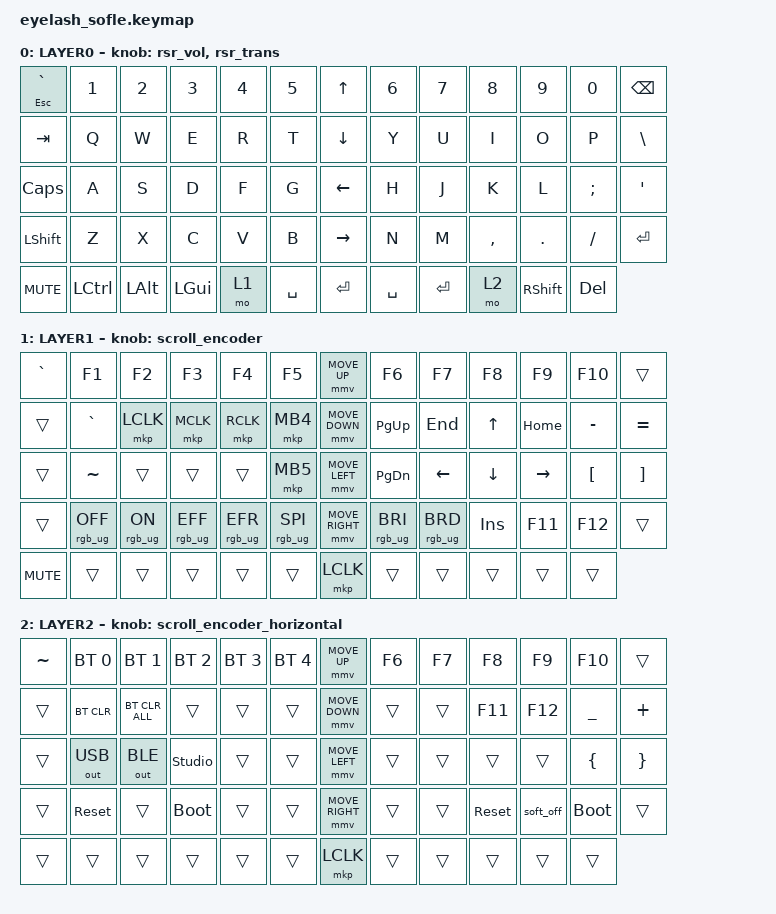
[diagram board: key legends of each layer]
#define ZMK_POINTING_DEFAULT_MOVE_VAL 1200  // 600
// Encoder scroll speed; distance per detent ~= SCRL_VAL * tap-ms / 1000
#define ZMK_POINTING_DEFAULT_SCRL_VAL 85

#include <input/processors.dtsi>
#include <zephyr/dt-bindings/input/input-event-codes.h>
#include <behaviors.dtsi>
#include <behaviors/runtime-sensor-rotate.dtsi>
#include <dt-bindings/zmk/bt.h>
#include <dt-bindings/zmk/keys.h>
#include <dt-bindings/zmk/outputs.h>
#include <dt-bindings/zmk/pointing.h>
#include <dt-bindings/zmk/rgb.h>

&mmv_input_listener { input-processors = <&zip_xy_scaler 2 1>; };

// &msc is only used by the encoder: constant speed so every detent scrolls the same amount
&msc {
    acceleration-exponent = <0>;
};

&mmv {
    time-to-max-speed-ms = <500>;
    acceleration-exponent = <1>;
    trigger-period-ms = <16>;
};

&soft_off { hold-time-ms = <2000>; };

/ {
    scroll_encoder: scroll_encoder {
        compatible = "zmk,behavior-sensor-rotate";
        #sensor-binding-cells = <0>;
        bindings = <&msc SCRL_DOWN>, <&msc SCRL_UP>;
        tap-ms = <30>;
    };

    scroll_encoder_horizontal: scroll_encoder_horizontal {
        compatible = "zmk,behavior-sensor-rotate";
        #sensor-binding-cells = <0>;
        bindings = <&msc SCRL_RIGHT>, <&msc SCRL_LEFT>;
        tap-ms = <30>;
    };

    behaviors {
        rsr_vol: rsr_vol {
            compatible = "zmk,behavior-runtime-sensor-rotate";
            #sensor-binding-cells = <0>;
            tap-ms = <5>;
            cw-binding = <&kp C_VOL_UP>;
            ccw-binding = <&kp C_VOL_DN>;
        };

        // Tap: ` (Shift: ~, Cmd: Cmd+` to cycle windows). Hold: Esc.
        grave_esc: grave_esc {
            compatible = "zmk,behavior-hold-tap";
            #binding-cells = <2>;
            bindings = <&kp>, <&kp>;
            flavor = "tap-preferred";
            tapping-term-ms = <200>;
            quick-tap-ms = <150>;
        };

        rsr_trans: rsr_trans {
            compatible = "zmk,behavior-runtime-sensor-rotate";
            #sensor-binding-cells = <0>;
            tap-ms = <0>;
        };
    };

    combos {
        compatible = "zmk,combos";

        softoff {
            bindings = <&soft_off>;
            key-positions = <14 28 40>;
        };

        esc {
            bindings = <&kp ESC>;
            key-positions = <0 1>;
        };
    };

    macros {
        SHIFT_MCLK: SHIFT_MCLK {
            compatible = "zmk,behavior-macro";
            #binding-cells = <0>;
            bindings =
                <&macro_press>,
                <&kp LEFT_SHIFT>,
                <&macro_press>,
                <&mkp MB3>,
                <&macro_pause_for_release>,
                <&macro_release>,
                <&kp LEFT_SHIFT &mkp MB3>;

            label = "SHIFT_MCLK";
        };
    };

    keymap {
        compatible = "zmk,keymap";

        layer_0 {
            bindings = <
&grave_esc ESC GRAVE  &kp N1     &kp N2        &kp N3        &kp N4  &kp N5       &kp UP_ARROW     &kp N6     &kp N7     &kp N8     &kp N9           &kp N0      &kp BACKSPACE
&kp TAB     &kp Q      &kp W         &kp E         &kp R   &kp T        &kp DOWN_ARROW   &kp Y      &kp U      &kp I      &kp O            &kp P       &kp BSLH
&kp CAPS    &kp A      &kp S         &kp D         &kp F   &kp G        &kp LEFT_ARROW   &kp H      &kp J      &kp K      &kp L            &kp SEMI    &kp APOS
&kp LSHFT   &kp Z      &kp X         &kp C         &kp V   &kp B        &kp RIGHT_ARROW  &kp N      &kp M      &kp COMMA  &kp DOT          &kp FSLH    &kp ENTER
&kp C_MUTE  &kp LCTRL  &kp LEFT_ALT  &kp LEFT_GUI  &mo 1   &kp SPACE    &kp ENTER        &kp SPACE  &kp ENTER  &mo 2      &kp RIGHT_SHIFT  &kp DELETE
            >;

            sensor-bindings = <&rsr_vol &rsr_trans>;
            display-name = "LAYER0";
        };

        layer_1 {
            bindings = <
&kp GRAVE   &kp F1           &kp F2          &kp F3           &kp F4           &kp F5             &mmv MOVE_UP     &kp F6           &kp F7           &kp F8      &kp F9     &kp F10           &trans
&trans      &kp GRAVE        &mkp LCLK       &mkp MCLK        &mkp RCLK        &mkp MB4           &mmv MOVE_DOWN   &kp PG_UP        &kp END          &kp UP      &kp HOME   &kp MINUS         &kp EQUAL
&trans      &kp TILDE        &trans          &trans           &trans           &mkp MB5           &mmv MOVE_LEFT   &kp PG_DN        &kp LEFT         &kp DOWN    &kp RIGHT  &kp LEFT_BRACKET  &kp RIGHT_BRACKET
&trans      &rgb_ug RGB_OFF  &rgb_ug RGB_ON  &rgb_ug RGB_EFF  &rgb_ug RGB_EFR  &rgb_ug RGB_SPI    &mmv MOVE_RIGHT  &rgb_ug RGB_BRI  &rgb_ug RGB_BRD  &kp INSERT  &kp F11    &kp F12           &trans
&kp C_MUTE  &trans           &trans          &trans           &trans           &trans             &mkp LCLK        &trans           &trans           &trans      &trans     &trans
            >;

            sensor-bindings = <&scroll_encoder>;
            display-name = "LAYER1";
        };

        layer_2 {
            bindings = <
&kp TILDE  &bt BT_SEL 0  &bt BT_SEL 1    &bt BT_SEL 2  &bt BT_SEL 3  &bt BT_SEL 4    &mmv MOVE_UP     &kp F6  &kp F7  &kp F8      &kp F9     &kp F10      &trans
&trans     &bt BT_CLR    &bt BT_CLR_ALL  &trans        &trans        &trans          &mmv MOVE_DOWN   &trans  &trans  &kp F11     &kp F12    &kp UNDER    &kp PLUS
&trans     &out OUT_USB  &out OUT_BLE    &studio_unlock  &trans        &trans          &mmv MOVE_LEFT   &trans  &trans  &trans      &trans     &kp LBRC     &kp RBRC
&trans     &sys_reset    &trans          &bootloader   &trans        &trans          &mmv MOVE_RIGHT  &trans  &trans  &sys_reset  &soft_off  &bootloader  &trans
&trans     &trans        &trans          &trans        &trans        &trans          &mkp LCLK        &trans  &trans  &trans      &trans     &trans
            >;

            sensor-bindings = <&scroll_encoder_horizontal>;
            display-name = "LAYER2";
        };
    };
};
